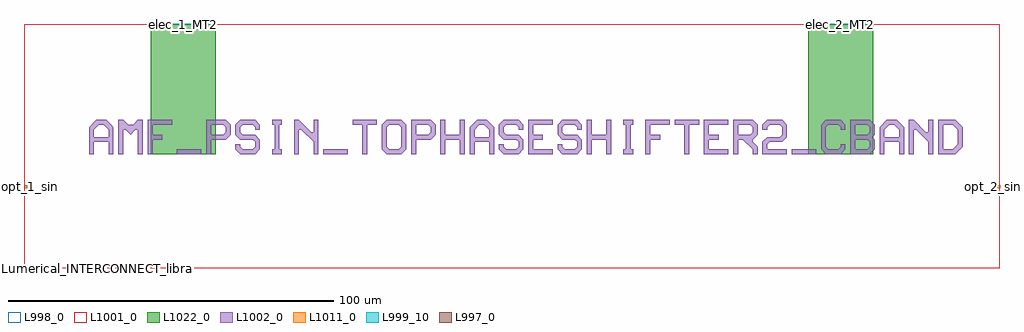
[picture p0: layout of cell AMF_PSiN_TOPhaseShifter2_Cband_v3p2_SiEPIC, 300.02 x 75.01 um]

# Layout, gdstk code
import gdstk
lib = gdstk.Library(unit=1e-6, precision=1e-09)
def R(c, l, rs):  # rectangles x0, y0, x1, y1
    for r in rs: c.add(gdstk.rectangle(r[:2], r[2:], *l))
def P(c, l, *ps):  # polygons
    for p in ps: c.add(gdstk.Polygon(p, *l))
L997_0 = (997, 0)
L998_0 = (998, 0)
L999_10 = (999, 10)
L1001_0 = (1001, 0)
L1002_0 = (1002, 0)
L1011_0 = (1011, 0)
L1022_0 = (1022, 0)

amf_psin_tophaseshifter2 = lib.new_cell('AMF_PSiN_TOPhaseShifter2_Cband_v3p2')
R(amf_psin_tophaseshifter2, L1001_0, [(0,-25,300,50)])
R(amf_psin_tophaseshifter2, L1002_0, [(47,10,54.5,11.5), (92,10,99.5,11.5), (236,10,243.5,11.5)])
P(amf_psin_tophaseshifter2, L1002_0, [(20,10),(20,18.25),(22.25,20.5),(25.25,20.5),(26.75,19),(23,19),(21.5,17.5),(21.5,15.25),(26,15.25),(26,17.5),(24.5,19),(26.75,19),(27.5,18.25),(27.5,10),(26,10),(26,13.75),(21.5,13.75),(21.5,10)],
  [(29,10),(29,20.5),(30.5,20.5),(32,19),(33.5,19),(35,20.5),(36.5,20.5),(36.5,10),(35,10),(35,17.5),(34.25,17.5),(32.75,16),(31.25,17.5),(30.5,17.5),(30.5,10)],
  [(38,10),(38,20.5),(45.5,20.5),(45.5,19),(39.5,19),(39.5,16),(42.5,16),(42.5,14.5),(39.5,14.5),(39.5,10)],
  [(56,10),(56,20.5),(62,20.5),(63.5,19),(63.5,16),(62,14.5),(57.5,14.5),(57.5,16),(61.25,16),(62,16.75),(62,18.25),(61.25,19),(57.5,19),(57.5,10)],
  [(66.5,10),(65,11.5),(65,13),(66.5,13),(66.5,12.25),(67.25,11.5),(70.25,11.5),(71,12.25),(71,13.75),(70.25,14.5),(66.5,14.5),(65,16),(65,19),(66.5,20.5),(71,20.5),(72.5,19),(72.5,17.5),(71,17.5),(71,18.25),(70.25,19),(67.25,19),(66.5,18.25),(66.5,16.75),(67.25,16),(71,16),(72.5,14.5),(72.5,11.5),(71,10)],
  [(76.25,10),(76.25,11.5),(77,11.5),(77,19),(76.25,19),(76.25,20.5),(79.25,20.5),(79.25,19),(78.5,19),(78.5,11.5),(79.25,11.5),(79.25,10)],
  [(83,10),(83,20.5),(84.5,20.5),(88.25,16.75),(89,16.75),(89,20.5),(90.5,20.5),(90.5,10),(89,10),(89,13.75),(85.25,17.5),(84.5,17.5),(84.5,10)],
  [(104,10),(104,19),(101,19),(101,20.5),(108.5,20.5),(108.5,19),(105.5,19),(105.5,10)],
  [(111.5,10),(110,11.5),(110,19),(111.5,20.5),(116,20.5),(117.5,19),(117.5,15.25),(116,15.25),(116,18.25),(115.25,19),(112.25,19),(111.5,18.25),(111.5,12.25),(112.25,11.5),(115.25,11.5),(116,12.25),(116,15.25),(117.5,15.25),(117.5,11.5),(116,10)],
  [(119,10),(119,20.5),(125,20.5),(126.5,19),(126.5,16),(125,14.5),(120.5,14.5),(120.5,16),(124.25,16),(125,16.75),(125,18.25),(124.25,19),(120.5,19),(120.5,10)],
  [(128,10),(128,20.5),(129.5,20.5),(129.5,16),(134,16),(134,20.5),(135.5,20.5),(135.5,10),(134,10),(134,14.5),(129.5,14.5),(129.5,10)],
  [(137,10),(137,18.25),(139.25,20.5),(142.25,20.5),(143.75,19),(140,19),(138.5,17.5),(138.5,15.25),(143,15.25),(143,17.5),(141.5,19),(143.75,19),(144.5,18.25),(144.5,10),(143,10),(143,13.75),(138.5,13.75),(138.5,10)],
  [(147.5,10),(146,11.5),(146,13),(147.5,13),(147.5,12.25),(148.25,11.5),(151.25,11.5),(152,12.25),(152,13.75),(151.25,14.5),(147.5,14.5),(146,16),(146,19),(147.5,20.5),(152,20.5),(153.5,19),(153.5,17.5),(152,17.5),(152,18.25),(151.25,19),(148.25,19),(147.5,18.25),(147.5,16.75),(148.25,16),(152,16),(153.5,14.5),(153.5,11.5),(152,10)],
  [(155,10),(155,20.5),(162.5,20.5),(162.5,19),(156.5,19),(156.5,16),(159.5,16),(159.5,14.5),(156.5,14.5),(156.5,11.5),(162.5,11.5),(162.5,10)],
  [(165.5,10),(164,11.5),(164,13),(165.5,13),(165.5,12.25),(166.25,11.5),(169.25,11.5),(170,12.25),(170,13.75),(169.25,14.5),(165.5,14.5),(164,16),(164,19),(165.5,20.5),(170,20.5),(171.5,19),(171.5,17.5),(170,17.5),(170,18.25),(169.25,19),(166.25,19),(165.5,18.25),(165.5,16.75),(166.25,16),(170,16),(171.5,14.5),(171.5,11.5),(170,10)],
  [(173,10),(173,20.5),(174.5,20.5),(174.5,16),(179,16),(179,20.5),(180.5,20.5),(180.5,10),(179,10),(179,14.5),(174.5,14.5),(174.5,10)],
  [(184.25,10),(184.25,11.5),(185,11.5),(185,19),(184.25,19),(184.25,20.5),(187.25,20.5),(187.25,19),(186.5,19),(186.5,11.5),(187.25,11.5),(187.25,10)],
  [(191,10),(191,20.5),(198.5,20.5),(198.5,19),(192.5,19),(192.5,16),(195.5,16),(195.5,14.5),(192.5,14.5),(192.5,10)],
  [(203,10),(203,19),(200,19),(200,20.5),(207.5,20.5),(207.5,19),(204.5,19),(204.5,10)],
  [(209,10),(209,20.5),(216.5,20.5),(216.5,19),(210.5,19),(210.5,16),(213.5,16),(213.5,14.5),(210.5,14.5),(210.5,11.5),(216.5,11.5),(216.5,10)],
  [(218,10),(218,20.5),(224,20.5),(225.5,19),(219.5,19),(219.5,16),(223.25,16),(224,16.75),(224,18.25),(223.25,19),(225.5,19),(225.5,16),(224,14.5),(224,13.75),(225.5,12.25),(225.5,10),(224,10),(224,11.5),(221,14.5),(219.5,14.5),(219.5,10)],
  [(227,10),(227,13.75),(228.5,15.25),(232.25,15.25),(233,16),(233,18.25),(232.25,19),(229.25,19),(228.5,18.25),(228.5,17.5),(227,17.5),(227,19),(228.5,20.5),(233,20.5),(234.5,19),(234.5,15.25),(233,13.75),(229.25,13.75),(228.5,13),(228.5,11.5),(234.5,11.5),(234.5,10)],
  [(246.5,10),(245,11.5),(245,19),(246.5,20.5),(251,20.5),(252.5,19),(252.5,17.5),(251,17.5),(251,18.25),(250.25,19),(247.25,19),(246.5,18.25),(246.5,12.25),(247.25,11.5),(250.25,11.5),(251,12.25),(251,13),(252.5,13),(252.5,11.5),(251,10)],
  [(254,10),(254,20.5),(260,20.5),(261.5,19),(255.5,19),(255.5,16),(259.25,16),(260,16.75),(260,18.25),(259.25,19),(261.5,19),(261.5,16),(260.75,15.25),(261.5,14.5),(255.5,14.5),(255.5,11.5),(259.25,11.5),(260,12.25),(260,13.75),(259.25,14.5),(261.5,14.5),(261.5,11.5),(260,10)],
  [(263,10),(263,18.25),(265.25,20.5),(268.25,20.5),(269.75,19),(266,19),(264.5,17.5),(264.5,15.25),(269,15.25),(269,17.5),(267.5,19),(269.75,19),(270.5,18.25),(270.5,10),(269,10),(269,13.75),(264.5,13.75),(264.5,10)],
  [(272,10),(272,20.5),(273.5,20.5),(277.25,16.75),(278,16.75),(278,20.5),(279.5,20.5),(279.5,10),(278,10),(278,13.75),(274.25,17.5),(273.5,17.5),(273.5,10)],
  [(281,10),(281,20.5),(286.25,20.5),(287.75,19),(282.5,19),(282.5,11.5),(285.5,11.5),(287,13),(287,17.5),(285.5,19),(287.75,19),(288.5,18.25),(288.5,12.25),(286.25,10)])
R(amf_psin_tophaseshifter2, L1011_0, [(0,-0.5,1,0.5), (299,-0.5,300,0.5)])
R(amf_psin_tophaseshifter2, L1022_0, [(39,10,59,50), (241,10,261,50)])
amf_psin_tophaseshifter2.add(gdstk.Label('opt_2_sin', (300,0), layer=1011, texttype=0))
amf_psin_tophaseshifter2.add(gdstk.Label('opt_1_sin', (0,0), layer=1011, texttype=0))
amf_psin_tophaseshifter2.add(gdstk.Label('elec_1_MT2', (49,50), layer=1022, texttype=0))
amf_psin_tophaseshifter2.add(gdstk.Label('elec_2_MT2', (251,50), layer=1022, texttype=0))

c_amf_psin_tophaseshifter2 = lib.new_cell('AMF_PSiN_TOPhaseShifter2_Cband_v3p2_SiEPIC')
R(c_amf_psin_tophaseshifter2, L998_0, [(0,-25,300,50)])
c_amf_psin_tophaseshifter2.add(gdstk.FlexPath([(299.99,0),(300.01,0)], 1, ends="flush", simple_path=True, layer=997, datatype=0))  # L997_0
c_amf_psin_tophaseshifter2.add(gdstk.FlexPath([(0.01,0),(-0.01,0)], 1, ends="flush", simple_path=True, layer=997, datatype=0))  # L997_0
c_amf_psin_tophaseshifter2.add(gdstk.FlexPath([(49,49.99),(49,50.01)], 20, ends="flush", simple_path=True, layer=999, datatype=10))  # L999_10
c_amf_psin_tophaseshifter2.add(gdstk.FlexPath([(251,49.99),(251,50.01)], 20, ends="flush", simple_path=True, layer=999, datatype=10))  # L999_10
c_amf_psin_tophaseshifter2.add(gdstk.Reference(amf_psin_tophaseshifter2, (0,0)))
c_amf_psin_tophaseshifter2.add(gdstk.Label('Lumerical_INTERCONNECT_library=Design kits/AMF_CML', (0,-25), layer=998, texttype=0))
c_amf_psin_tophaseshifter2.add(gdstk.Label('Component=AMF_PSiN_TOPhaseShifter2_Cband_v3p2', (0,-24.9), layer=998, texttype=0))
c_amf_psin_tophaseshifter2.add(gdstk.Label('opt_2_sin', (300,0), layer=997, texttype=0))
c_amf_psin_tophaseshifter2.add(gdstk.Label('opt_1_sin', (0,0), layer=997, texttype=0))
c_amf_psin_tophaseshifter2.add(gdstk.Label('opt_2_sin', (300,0), layer=997, texttype=0))
c_amf_psin_tophaseshifter2.add(gdstk.Label('opt_1_sin', (0,0), layer=997, texttype=0))
c_amf_psin_tophaseshifter2.add(gdstk.Label('elec_1_MT2', (49,50), layer=999, texttype=10))
c_amf_psin_tophaseshifter2.add(gdstk.Label('elec_2_MT2', (251,50), layer=999, texttype=10))
c_amf_psin_tophaseshifter2.add(gdstk.Label('elec_1_MT2', (49,50), layer=999, texttype=10))
c_amf_psin_tophaseshifter2.add(gdstk.Label('elec_2_MT2', (251,50), layer=999, texttype=10))

lib.write_gds('AMF_PSiN_TOPhaseShifter2_Cband_v3p2_SiEPIC.gds')
